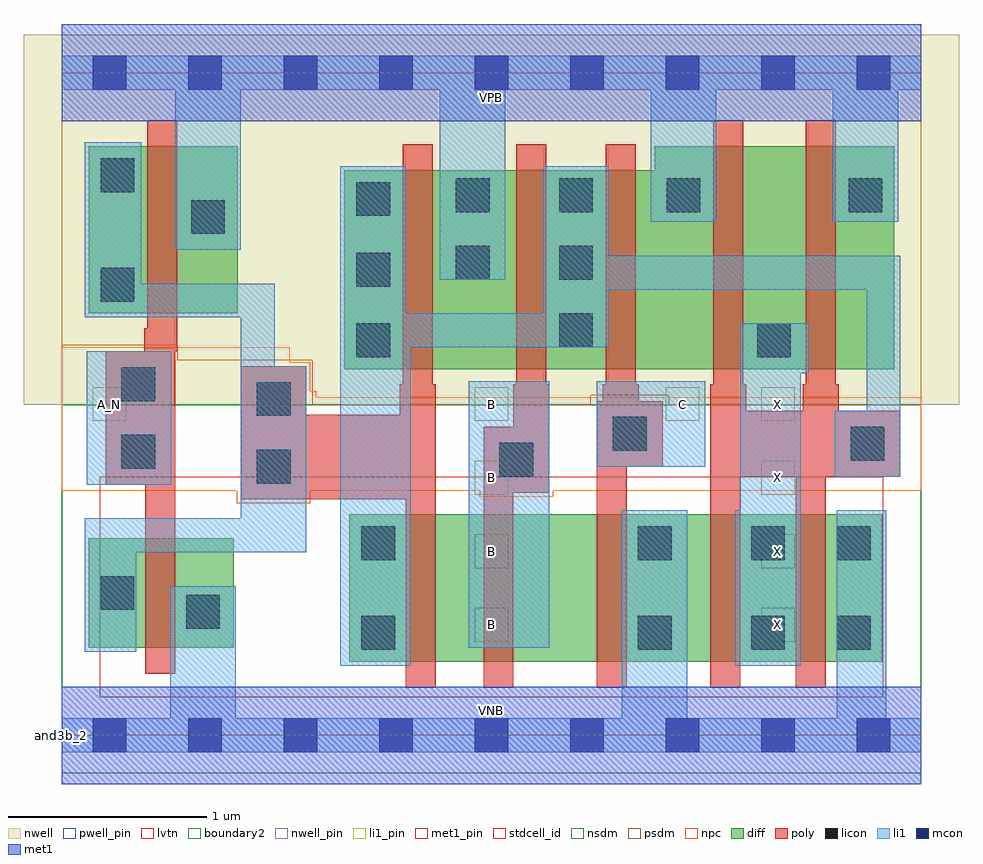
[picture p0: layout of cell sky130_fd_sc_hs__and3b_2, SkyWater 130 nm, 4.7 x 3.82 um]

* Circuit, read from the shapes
.subckt sky130_fd_sc_hs__and3b_2 A_N B C VGND VNB VPB VPWR X
XM1 VGND A_N n1 VNB sky130_fd_pr__nfet_01v8_lvt w=0.55 l=0.15
XM2 n2 n1 n3 VNB sky130_fd_pr__nfet_01v8_lvt w=0.74 l=0.15
XM3 n4 B n2 VNB sky130_fd_pr__nfet_01v8_lvt w=0.74 l=0.15
XM4 VGND C n4 VNB sky130_fd_pr__nfet_01v8_lvt w=0.74 l=0.15
XM5 X n3 VGND VNB sky130_fd_pr__nfet_01v8_lvt w=0.74 l=0.15 m=2
XM6 VPWR A_N n1 VPB sky130_fd_pr__pfet_01v8 w=0.84 l=0.15
XM7 VPWR n1 n3 VPB sky130_fd_pr__pfet_01v8 w=1 l=0.15
XM8 n3 B VPWR VPB sky130_fd_pr__pfet_01v8 w=1 l=0.15
XM9 VPWR C n3 VPB sky130_fd_pr__pfet_01v8 w=1 l=0.15
XM10 X n3 VPWR VPB sky130_fd_pr__pfet_01v8 w=1.12 l=0.15 m=2
.ends

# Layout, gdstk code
import gdstk
lib = gdstk.Library(unit=1e-6, precision=1e-09)
def R(c, l, rs):  # rectangles x0, y0, x1, y1
    for r in rs: c.add(gdstk.rectangle(r[:2], r[2:], *l))
def A(c, l, x, y, w, h, nx, ny, dx, dy):  # array of equal rectangles
    R(c, l, [(x+i*dx, y+j*dy, x+i*dx+w, y+j*dy+h) for i in range(nx) for j in range(ny)])
def P(c, l, *ps):  # polygons
    for p in ps: c.add(gdstk.Polygon(p, *l))
nwell_pin = (64, 16)
nwell = (64, 20)
diff = (65, 20)
poly = (66, 20)
licon = (66, 44)
li1_pin = (67, 16)
li1 = (67, 20)
mcon = (67, 44)
met1_pin = (68, 16)
met1 = (68, 20)
stdcell_id = (81, 4)
nsdm = (93, 44)
psdm = (94, 20)
npc = (95, 20)
pwell_pin = (122, 16)
lvtn = (125, 44)
boundary2 = (236, 0)

sky130_fd_sc_hs__and3b_2 = lib.new_cell('sky130_fd_sc_hs__and3b_2')
R(sky130_fd_sc_hs__and3b_2, nwell_pin, [(0,3.085,4.32,3.33)])
R(sky130_fd_sc_hs__and3b_2, nwell, [(-0.19,1.66,4.51,3.52)])
R(sky130_fd_sc_hs__and3b_2, diff, [(1.445,0.37,4.125,1.11), (0.135,0.44,0.865,0.99), (0.135,2.12,0.885,2.96)])
P(sky130_fd_sc_hs__and3b_2, diff, [(4.185,2.96),(2.98,2.96),(2.98,2.84),(1.42,2.84),(1.42,1.84),(4.185,1.84)])
P(sky130_fd_sc_hs__and3b_2, poly, [(4.215,1.63),(3.905,1.63),(3.905,1.765),(3.89,1.765),(3.89,3.09),(3.74,3.09),(3.74,1.765),(3.725,1.765),(3.725,1.63),(3.44,1.63),(3.44,1.765),(3.425,1.765),(3.425,3.09),(3.275,3.09),(3.275,1.765),(3.26,1.765),(3.26,0.24),(3.41,0.24),(3.41,1.3),(3.69,1.3),(3.69,0.24),(3.84,0.24),(3.84,1.3),(4.215,1.3)],
  [(3.02,1.68),(2.9,1.68),(2.9,1.765),(2.885,1.765),(2.885,2.97),(2.735,2.97),(2.735,1.765),(2.72,1.765),(2.72,1.68),(2.69,1.68),(2.69,0.24),(2.84,0.24),(2.84,1.35),(3.02,1.35)],
  [(2.45,1.765),(2.435,1.765),(2.435,2.97),(2.285,2.97),(2.285,1.765),(2.27,1.765),(2.27,1.55),(2.12,1.55),(2.12,0.24),(2.27,0.24),(2.27,1.22),(2.45,1.22)],
  [(1.88,1.765),(1.865,1.765),(1.865,2.97),(1.715,2.97),(1.715,1.765),(1.7,1.765),(1.7,1.61),(1.23,1.61),(1.23,1.855),(0.9,1.855),(0.9,1.185),(1.73,1.185),(1.73,0.24),(1.88,0.24)],
  [(0.58,3.09),(0.43,3.09),(0.43,2.045),(0.415,2.045),(0.415,1.93),(0.22,1.93),(0.22,1.26),(0.42,1.26),(0.42,0.31),(0.57,0.31),(0.57,1.93),(0.58,1.93)])
A(sky130_fd_sc_hs__and3b_2, licon, 1.48, 1.9, 0.17, 0.17, 1, 3, 0, 0.355)
A(sky130_fd_sc_hs__and3b_2, licon, 2.5, 1.95, 0.17, 0.17, 1, 3, 0, 0.34)
R(sky130_fd_sc_hs__and3b_2, licon, [(1.505,0.43,1.675,0.6), (2.895,0.43,3.065,0.6), (3.465,0.43,3.635,0.6), (3.895,0.43,4.065,0.6), (0.625,0.535,0.795,0.705), (0.195,0.63,0.365,0.8), (1.505,0.88,1.675,1.05), (2.895,0.88,3.065,1.05), (3.465,0.88,3.635,1.05), (3.895,0.88,4.065,1.05), (0.98,1.265,1.15,1.435), (2.2,1.3,2.37,1.47), (0.3,1.34,0.47,1.51), (3.965,1.38,4.135,1.55), (2.77,1.43,2.94,1.6), (0.98,1.605,1.15,1.775), (0.3,1.68,0.47,1.85), (3.495,1.9,3.665,2.07), (0.195,2.18,0.365,2.35), (1.98,2.29,2.15,2.46), (0.65,2.52,0.82,2.69), (1.98,2.63,2.15,2.8), (3.04,2.63,3.21,2.8), (3.955,2.63,4.125,2.8), (0.195,2.73,0.365,2.9)])
A(sky130_fd_sc_hs__and3b_2, li1_pin, 2.075, 0.47, 0.17, 0.17, 1, 4, 0, 0.37)
A(sky130_fd_sc_hs__and3b_2, li1_pin, 3.515, 0.47, 0.17, 0.17, 1, 4, 0, 0.37)
R(sky130_fd_sc_hs__and3b_2, li1_pin, [(0.155,1.58,0.325,1.75), (3.035,1.58,3.205,1.75)])
R(sky130_fd_sc_hs__and3b_2, li1, [(2.045,0.44,2.45,1.78), (0.125,1.26,0.55,1.93), (2.69,1.35,3.235,1.78)])
P(sky130_fd_sc_hs__and3b_2, li1, [(0.57,2.44),(0.57,3.245),(0,3.245),(0,3.415),(4.32,3.415),(4.32,3.245),(4.205,3.245),(4.205,2.58),(3.875,2.58),(3.875,3.245),(3.29,3.245),(3.29,2.58),(2.96,2.58),(2.96,3.245),(2.23,3.245),(2.23,2.29),(1.9,2.29),(1.9,3.245),(0.9,3.245),(0.9,2.44)],
  [(0.545,0.085),(0.545,0.75),(0.875,0.75),(0.875,0.085),(2.815,0.085),(2.815,1.13),(3.145,1.13),(3.145,0.085),(3.895,0.085),(3.895,1.13),(4.145,1.13),(4.145,0.085),(4.32,0.085),(4.32,-0.085),(0,-0.085),(0,0.085)],
  [(1.07,1.855),(1.23,1.855),(1.23,0.92),(0.375,0.92),(0.375,0.42),(0.115,0.42),(0.115,1.09),(0.9,1.09),(0.9,2.1),(0.115,2.1),(0.115,2.98),(0.4,2.98),(0.4,2.27),(1.07,2.27)],
  [(2.42,2.12),(2.42,2.86),(2.75,2.86),(2.75,2.41),(4.215,2.41),(4.215,1.3),(3.885,1.3),(3.885,1.63),(4.045,1.63),(4.045,2.24),(2.75,2.24),(2.75,1.95),(1.755,1.95),(1.755,0.35),(1.4,0.35),(1.4,2.86),(1.73,2.86),(1.73,2.12)],
  [(3.41,1.13),(3.41,2.07),(3.755,2.07),(3.755,1.82),(3.715,1.82),(3.715,0.35),(3.385,0.35),(3.385,1.13)])
A(sky130_fd_sc_hs__and3b_2, mcon, 0.155, -0.085, 0.17, 0.17, 9, 2, 0.48, 3.33)
R(sky130_fd_sc_hs__and3b_2, met1_pin, [(0,0,4.32,0.245), (0,3.085,4.32,3.33)])
R(sky130_fd_sc_hs__and3b_2, met1, [(0,-0.245,4.32,0.245), (0,3.085,4.32,3.575)])
R(sky130_fd_sc_hs__and3b_2, stdcell_id, [(0,0,4.32,3.33)])
R(sky130_fd_sc_hs__and3b_2, nsdm, [(0,-0.19,4.32,1.66)])
P(sky130_fd_sc_hs__and3b_2, psdm, [(4.32,3.52),(0,3.52),(0,1.96),(0.58,1.96),(0.58,1.885),(1.26,1.885),(1.26,1.66),(2.66,1.66),(2.66,1.71),(3.05,1.71),(3.05,1.66),(4.32,1.66)])
P(sky130_fd_sc_hs__and3b_2, npc, [(4.32,1.7),(1.28,1.7),(1.28,1.73),(1.25,1.73),(1.25,1.875),(1.145,1.875),(1.145,1.95),(0,1.95),(0,1.23),(0.88,1.23),(0.88,1.165),(1.25,1.165),(1.25,1.23),(2.1,1.23),(2.1,1.2),(2.47,1.2),(2.47,1.23),(4.32,1.23)])
R(sky130_fd_sc_hs__and3b_2, pwell_pin, [(0,0,4.32,0.245)])
R(sky130_fd_sc_hs__and3b_2, lvtn, [(0.19,0.19,4.13,1.3)])
R(sky130_fd_sc_hs__and3b_2, boundary2, [(0,0,4.32,3.33)])
sky130_fd_sc_hs__and3b_2.add(gdstk.Label('and3b_2', (0,0), layer=83, texttype=44))
sky130_fd_sc_hs__and3b_2.add(gdstk.Label('VNB', (2.16,0.123), layer=64, texttype=59))
sky130_fd_sc_hs__and3b_2.add(gdstk.Label('VPB', (2.16,3.208), layer=64, texttype=5))
sky130_fd_sc_hs__and3b_2.add(gdstk.Label('VPWR', (2.16,3.208), layer=68, texttype=5))
sky130_fd_sc_hs__and3b_2.add(gdstk.Label('VGND', (2.16,0.123), layer=68, texttype=5))
sky130_fd_sc_hs__and3b_2.add(gdstk.Label('A_N', (0.24,1.665), layer=67, texttype=5))
sky130_fd_sc_hs__and3b_2.add(gdstk.Label('C', (3.12,1.665), layer=67, texttype=5))
sky130_fd_sc_hs__and3b_2.add(gdstk.Label('B', (2.16,0.555), layer=67, texttype=5))
sky130_fd_sc_hs__and3b_2.add(gdstk.Label('B', (2.16,0.925), layer=67, texttype=5))
sky130_fd_sc_hs__and3b_2.add(gdstk.Label('B', (2.16,1.295), layer=67, texttype=5))
sky130_fd_sc_hs__and3b_2.add(gdstk.Label('B', (2.16,1.665), layer=67, texttype=5))
sky130_fd_sc_hs__and3b_2.add(gdstk.Label('X', (3.6,0.555), layer=67, texttype=5))
sky130_fd_sc_hs__and3b_2.add(gdstk.Label('X', (3.6,0.925), layer=67, texttype=5))
sky130_fd_sc_hs__and3b_2.add(gdstk.Label('X', (3.6,1.295), layer=67, texttype=5))
sky130_fd_sc_hs__and3b_2.add(gdstk.Label('X', (3.6,1.665), layer=67, texttype=5))

lib.write_gds('sky130_fd_sc_hs__and3b_2.gds')
